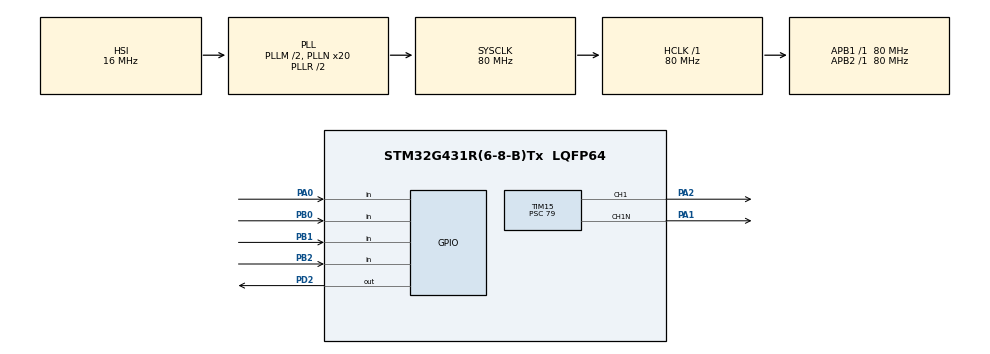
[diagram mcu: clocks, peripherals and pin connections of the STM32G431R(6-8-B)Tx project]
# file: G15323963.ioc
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Mcu.Family=STM32G4
Mcu.Name=STM32G431R(6-8-B)Tx
Mcu.Package=LQFP64
NVIC.PriorityGroup=NVIC_PRIORITYGROUP_2
PA0.Signal=GPIO_Input
PA1.Mode=PWM Generation1 CH1 CH1N
PA1.Signal=TIM15_CH1N
PA2.Signal=S_TIM15_CH1
PB0.Signal=GPIO_Input
PB1.Signal=GPIO_Input
PB2.Signal=GPIO_Input
PD2.Signal=GPIO_Output
PF0-OSC_IN.Mode=HSE-External-Oscillator
PF0-OSC_IN.Signal=RCC_OSC_IN
PF1-OSC_OUT.Mode=HSE-External-Oscillator
PF1-OSC_OUT.Signal=RCC_OSC_OUT
ProjectManager.HeapSize=0x200
ProjectManager.StackSize=0x400
ProjectManager.TargetToolchain=MDK-ARM V5
RCC.ADC12Freq_Value=80000000
RCC.AHBFreq_Value=80000000
RCC.APB1Freq_Value=80000000
RCC.APB1TimFreq_Value=80000000
RCC.APB2Freq_Value=80000000
RCC.APB2TimFreq_Value=80000000
RCC.CortexFreq_Value=80000000
RCC.EXTERNAL_CLOCK_VALUE=12288000
RCC.HCLKFreq_Value=80000000
RCC.HSE_VALUE=24000000
RCC.HSI48_VALUE=48000000
RCC.HSI_VALUE=16000000
RCC.LSE_VALUE=32768
RCC.PLLM=RCC_PLLM_DIV2
RCC.PLLN=20
RCC.SYSCLKFreq_VALUE=80000000
RCC.SYSCLKSource=RCC_SYSCLKSOURCE_PLLCLK
RCC.USBFreq_Value=80000000
RCC.VCOOutputFreq_Value=160000000
SH.S_TIM15_CH1.0=TIM15_CH1,PWM Generation1 CH1 CH1N
TIM15.AutoReloadPreload=TIM_AUTORELOAD_PRELOAD_ENABLE
TIM15.Channel-PWM\ Generation1\ CH1\ CH1N=TIM_CHANNEL_1
TIM15.PeriodNoDither=99
TIM15.Prescaler=79
TIM15.PulseNoDither_1=60
VP_SYS_VS_DBSignals.Mode=DisableDeadBatterySignals
VP_TIM15_VS_ClockSourceINT.Mode=Internal
board=custom

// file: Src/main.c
/* USER CODE BEGIN Header */
/**
  ******************************************************************************
  * @file           : main.c
  * @brief          : Main program body
  ******************************************************************************
  * @attention
  *
  * Copyright (c) 2024 STMicroelectronics.
  * All rights reserved.
  *
  * This software is licensed under terms that can be found in the LICENSE file
  * in the root directory of this software component.
  * If no LICENSE file comes with this software, it is provided AS-IS.
  *
  ******************************************************************************
  */
/* USER CODE END Header */
#include "main.h"
#include "tim.h"
#include "gpio.h"

/* USER CODE BEGIN Includes */
#include "stdio.h"
#include "string.h"
#include "lcd.h"
#include "led.h"
#include "key.h"
#include "demo.h"

/* USER CODE END Includes */

void SystemClock_Config(void);

/* USER CODE BEGIN 0 */

//LED
u8 led_ctrl = 0x00;
void Led_Proc(void)
{

	Led_Control(led_ctrl);
}

//KEY
uint32_t keyTick = 0;
void Key_Proc(void)
{
	if(uwTick - keyTick < 20) return;
	keyTick = uwTick;

	Key_Read();

	if(Trg & 0x01)
	{
		Led_Control(0x01);
	}

	if(Trg & 0x02)
	{
		Led_Control(0x02);
	}

	if(Trg & 0x04)
	{
		Led_Control(0x04);
	}

	if(Trg & 0x08)
	{
		Led_Control(0x08);
	}
}

//TIM15 互补输出
//PA2 -CH1   PA1-CH1N

uint32_t PA2_F = 8000;
double PA2_D = 0.32;

void PWM_Proc(void)
{
	TIM15->ARR = (1e6/PA2_F - 1);
	TIM15->CCR1 = (TIM15->ARR + 1)*PA2_D;

}

//LCD
uint32_t lcdTick = 0;
void LCD_Proc(void)
{
	if(uwTick - lcdTick < 100) return;
	lcdTick = uwTick;

	u8 display_buf[30];

	sprintf((char*)display_buf,"Hello ");
	LCD_DisplayStringLine(Line0,display_buf);

}

/* USER CODE END 0 */

int main(void)
{

  /* MCU Configuration--------------------------------------------------------*/

  /* Reset of all peripherals, Initializes the Flash interface and the Systick. */
  HAL_Init();

  /* USER CODE BEGIN Init */
	LCD_Init();

  /* USER CODE END Init */

  /* Configure the system clock */
  SystemClock_Config();

  /* Initialize all configured peripherals */
  MX_GPIO_Init();
  MX_TIM15_Init();
  /* USER CODE BEGIN 2 */

  //若要互补输出两个信号，需要两个都打开
	HAL_TIM_PWM_Start(&htim15,TIM_CHANNEL_1); //单开CH1通道
	HAL_TIMEx_PWMN_Start(&htim15,TIM_CHANNEL_1);//单开CH1互补通道
  /* USER CODE END 2 */

  /* Infinite loop */
  /* USER CODE BEGIN WHILE */
	LCD_Clear(Black);
	LCD_SetBackColor(Black);
  LCD_SetTextColor(White);
  //  LCD_DisplayStringLine(Line4, (unsigned char *)"    Hello,world.   ");

  Led_Control(0x00);
  while (1)
  {
    /* USER CODE END WHILE */

    /* USER CODE BEGIN 3 */
		//Led_Proc();
		Key_Proc();
		LCD_Proc();

		PWM_Proc();
  }
  /* USER CODE END 3 */
}

void SystemClock_Config(void)
{
  RCC_OscInitTypeDef RCC_OscInitStruct = {0};
  RCC_ClkInitTypeDef RCC_ClkInitStruct = {0};

  /** Configure the main internal regulator output voltage
  */
  HAL_PWREx_ControlVoltageScaling(PWR_REGULATOR_VOLTAGE_SCALE1);

  /** Initializes the RCC Oscillators according to the specified parameters
  * in the RCC_OscInitTypeDef structure.
  */
  RCC_OscInitStruct.OscillatorType = RCC_OSCILLATORTYPE_HSI;
  RCC_OscInitStruct.HSIState = RCC_HSI_ON;
  RCC_OscInitStruct.HSICalibrationValue = RCC_HSICALIBRATION_DEFAULT;
  RCC_OscInitStruct.PLL.PLLState = RCC_PLL_ON;
  RCC_OscInitStruct.PLL.PLLSource = RCC_PLLSOURCE_HSI;
  RCC_OscInitStruct.PLL.PLLM = RCC_PLLM_DIV2;
  RCC_OscInitStruct.PLL.PLLN = 20;
  RCC_OscInitStruct.PLL.PLLP = RCC_PLLP_DIV2;
  RCC_OscInitStruct.PLL.PLLQ = RCC_PLLQ_DIV2;
  RCC_OscInitStruct.PLL.PLLR = RCC_PLLR_DIV2;
  if (HAL_RCC_OscConfig(&RCC_OscInitStruct) != HAL_OK)
  {
    Error_Handler();
  }

  /** Initializes the CPU, AHB and APB buses clocks
  */
  RCC_ClkInitStruct.ClockType = RCC_CLOCKTYPE_HCLK|RCC_CLOCKTYPE_SYSCLK
                              |RCC_CLOCKTYPE_PCLK1|RCC_CLOCKTYPE_PCLK2;
  RCC_ClkInitStruct.SYSCLKSource = RCC_SYSCLKSOURCE_PLLCLK;
  RCC_ClkInitStruct.AHBCLKDivider = RCC_SYSCLK_DIV1;
  RCC_ClkInitStruct.APB1CLKDivider = RCC_HCLK_DIV1;
  RCC_ClkInitStruct.APB2CLKDivider = RCC_HCLK_DIV1;

  if (HAL_RCC_ClockConfig(&RCC_ClkInitStruct, FLASH_LATENCY_2) != HAL_OK)
  {
    Error_Handler();
  }
}

void Error_Handler(void)
{
  __disable_irq();
  while (1)
  {
  }
}
